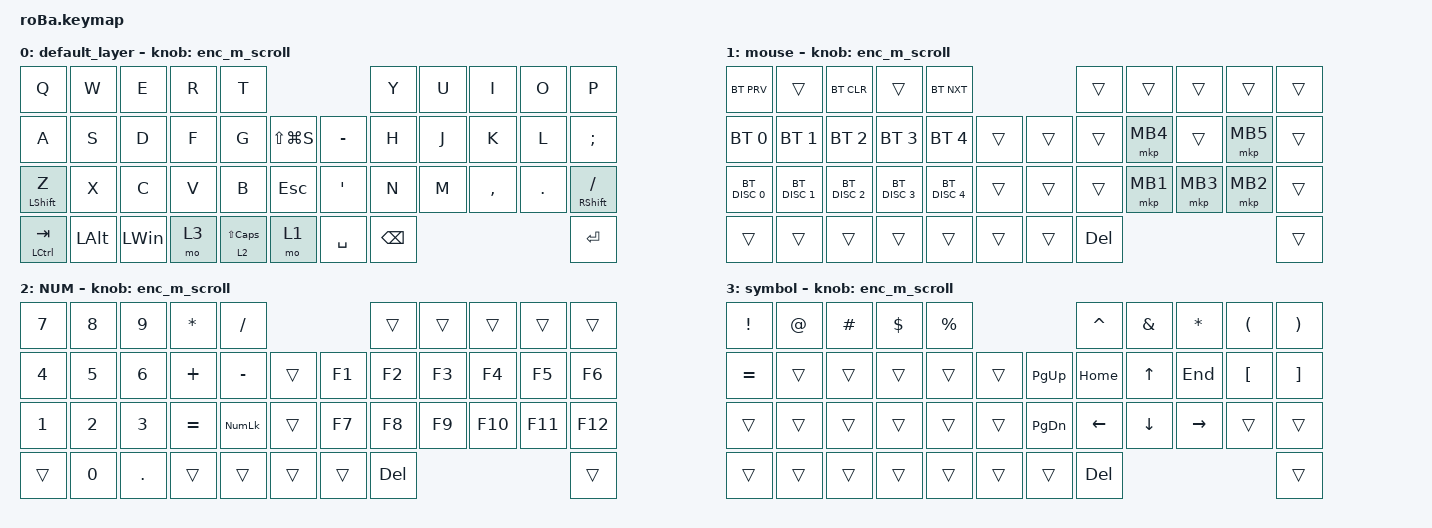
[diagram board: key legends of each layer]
#include <behaviors.dtsi>
#include <dt-bindings/zmk/bt.h>
#include <dt-bindings/zmk/keys.h>
#include <dt-bindings/zmk/pointing.h>

#define ZMK_POINTING_DEFAULT_SCRL_VAL 120

&mt {
    flavor = "balanced";
    quick-tap-ms = <0>;
};

&trackball {
    automouse-layer = <4>;
    scroll-layers = <5>;

    // arrows {
    //     layers = <3>;
    //     bindings =
    //         <&kp RIGHT_ARROW>,
    //         <&kp LEFT_ARROW>,
    //         <&kp UP_ARROW>,
    //         <&kp DOWN_ARROW>;
    //     tick = <10>;
    //     wait-ms = <5>;
    //     tap-ms = <5>;
    // };
};

/ {
    combos {
        compatible = "zmk,combos";

        eq {
            bindings = <&kp EQUAL>;
            key-positions = <8 9>;
            layers = <0>;
        };

        grave {
            bindings = <&kp GRAVE>;
            key-positions = <0 1>;
            layers = <0>;
        };

        backslash {
            bindings = <&kp BSLH>;
            key-positions = <20 21>;
            layers = <0 3>;
        };
    };

    macros {
        to_layer_0: to_layer_0 {
            compatible = "zmk,behavior-macro-one-param";
            #binding-cells = <1>;
            bindings = <&to 0 &macro_param_1to1 &kp MACRO_PLACEHOLDER>;
            label = "TO_LAYER_0";
        };
    };

    behaviors {
        hold_tap_kp_kp: hold_tap_kp_kp {
            compatible = "zmk,behavior-hold-tap";
            label = "HOLD_TAP_KP_KP";
            bindings = <&kp>, <&kp>;

            #binding-cells = <2>;
            tapping-term-ms = <200>;
            flavor = "tap-preferred";
        };

        enc_m_scroll: enc_m_scroll {
            compatible = "zmk,behavior-sensor-rotate";
            label = "ENC_M_SCROLL";
            #sensor-binding-cells = <0>;
            bindings = <&msc SCRL_UP>, <&msc SCRL_DOWN>;

            tap-ms = <20>;
        };
    };

    keymap {
        compatible = "zmk,keymap";

        default_layer {
            bindings = <
&kp Q                         &kp W         &kp E         &kp R  &kp T                                                &kp Y          &kp U  &kp I      &kp O    &kp P
&kp A                         &kp S         &kp D         &kp F  &kp G           &kp LS(LG(S))      &kp MINUS         &kp H          &kp J  &kp K      &kp L    &kp SEMICOLON
&hold_tap_kp_kp LEFT_SHIFT Z  &kp X         &kp C         &kp V  &kp B           &kp ESCAPE         &kp SINGLE_QUOTE  &kp N          &kp M  &kp COMMA  &kp DOT  &hold_tap_kp_kp RIGHT_SHIFT SLASH
&hold_tap_kp_kp LCTRL TAB     &kp LEFT_ALT  &kp LEFT_WIN  &mo 3  &lt 2 LS(CAPS)  &mo 1              &kp SPACE         &kp BACKSPACE                             &kp ENTER
            >;

            sensor-bindings = <&enc_m_scroll>;
        };

        mouse {
            bindings = <
&bt BT_PRV     &trans         &bt BT_CLR     &trans         &bt BT_NXT                         &trans      &trans    &trans    &trans    &trans
&bt BT_SEL 0   &bt BT_SEL 1   &bt BT_SEL 2   &bt BT_SEL 3   &bt BT_SEL 4   &trans      &trans  &trans      &mkp MB4  &trans    &mkp MB5  &trans
&bt BT_DISC 0  &bt BT_DISC 1  &bt BT_DISC 2  &bt BT_DISC 3  &bt BT_DISC 4  &trans      &trans  &trans      &mkp MB1  &mkp MB3  &mkp MB2  &trans
&trans         &trans         &trans         &trans         &trans         &trans      &trans  &kp DELETE                                &trans
            >;

            sensor-bindings = <&enc_m_scroll>;
        };

        NUM {
            bindings = <
&kp N7        &kp N8        &kp N9        &kp ASTERISK  &kp SLASH                           &trans      &trans  &trans   &trans   &trans
&kp NUMBER_4  &kp N5        &kp NUMBER_6  &kp PLUS      &kp MINUS       &trans      &kp F1  &kp F2      &kp F3  &kp F4   &kp F5   &kp F6
&kp NUMBER_1  &kp NUMBER_2  &kp NUMBER_3  &kp EQUAL     &kp KP_NUMLOCK  &trans      &kp F7  &kp F8      &kp F9  &kp F10  &kp F11  &kp F12
&trans        &kp N0        &kp PERIOD    &trans        &trans          &trans      &trans  &kp DELETE                            &trans
            >;

            sensor-bindings = <&enc_m_scroll>;
        };

        symbol {
            bindings = <
&kp EXCLAMATION  &kp AT_SIGN  &kp HASH  &kp DOLLAR  &kp PERCENT                             &kp CARET       &kp AMPERSAND   &kp ASTERISK  &kp LEFT_PARENTHESIS  &kp RIGHT_PARENTHESIS
&kp EQUAL        &trans       &trans    &trans      &trans       &trans      &kp PAGE_UP    &kp HOME        &kp UP_ARROW    &kp END       &kp LEFT_BRACKET      &kp RIGHT_BRACKET
&trans           &trans       &trans    &trans      &trans       &trans      &kp PAGE_DOWN  &kp LEFT_ARROW  &kp DOWN_ARROW  &kp RIGHT     &trans                &trans
&trans           &trans       &trans    &trans      &trans       &trans      &trans         &kp DELETE                                                          &trans
            >;

            sensor-bindings = <&enc_m_scroll>;
        };
    };
};
